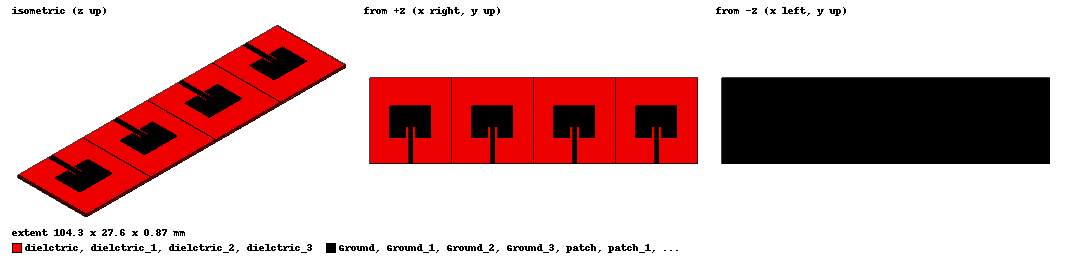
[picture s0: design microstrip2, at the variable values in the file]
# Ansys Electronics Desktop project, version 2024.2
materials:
  vacuum: permittivity=1
  copper: permeability=0.999991 conductivity=58000000
  FR4_epoxy: permittivity=4.4 dielectric_loss_tangent=0.02

design microstrip2 (HFSS, HFSS Modal Network, model units mm)
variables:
  T_diel = 0.8mm
  L = 9.99mm
  W = 13.04mm
  T = 0.035mm
  L_feed = 11.74mm
  W_feed = 1.53mm
  W_g = 2*W
  L_g = 1.5*L_feed+L
  T_g = T
  partial = 0.35
  L_offset = partial*L/2
  W_slot = 2*W_feed
  L_slot = L/2-L_offset
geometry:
  Ground [copper] = box(corner=(-W_g/2, 0mm, 0mm), size=(W_g, L_g, T_g))
  coordinate_system diel_bottom = origin=(0mm, 0mm, T_g) x=(1mm, 0mm, 0mm) y=(0mm, 1mm, 0mm)
  dielctric [FR4_epoxy] = box(corner=(-W_g/2, 0mm, 0mm), size=(W_g, L_g, T_diel)) in diel_bottom
  coordinate_system diel_top = origin=(0mm, 0mm, T_diel) x=(1mm, 0mm, 0mm) y=(0mm, 1mm, 0mm) in diel_bottom
  feed [copper] = box(corner=(-W_feed/2, 0mm, 0mm), size=(W_feed, L_feed, T)) in diel_top
  coordinate_system feed_point = origin=(0mm, L_feed, 0mm) x=(1mm, 0mm, 0mm) y=(0mm, 1mm, 0mm) in diel_top
  coordinate_system antenna_start = origin=(0, -L_slot, 0) x=(1mm, 0mm, 0mm) y=(0mm, 1mm, 0mm) in feed_point
  Box1 = box(corner=(-W_slot/2, 0mm, 0mm), size=(W_slot, L_slot, T)) in antenna_start
  patch [copper] = box(corner=(-W /2, 0, 0mm), size=(W, L, T)) in antenna_start
  patch.subtract(Box1)
  Rectangle1 = rectangle(corner=(-W_feed/2, 0mm, 0mm), z_size=T_g+T+T_diel, x_size=W_feed)
  dielctric_1, dielctric_2, dielctric_3 [FR4_epoxy] = dielctric.duplicate_along_line(step=(-W_g, 0mm, 0mm), total=4) in antenna_start
  Ground_1, Ground_2, Ground_3 [copper] = Ground.duplicate_along_line(step=(-W_g, 0mm, 0mm), total=4) in antenna_start
  feed_1, feed_2, feed_3 [copper] = feed.duplicate_along_line(step=(-W_g, 0mm, 0mm), total=4) in antenna_start
  patch_1, patch_2, patch_3 [copper] = patch.duplicate_along_line(step=(-W_g, 0mm, 0mm), total=4) in antenna_start
  Rectangle1_1, Rectangle1_2, Rectangle1_3 = Rectangle1.duplicate_along_line(step=(-W_g, 0mm, 0mm), total=4) in antenna_start
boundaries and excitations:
  1: Lumped Port Objects=Rectangle1 LumpedPortType=Modal Modes{Mode1{IntLine{(0, 0, 0) -> (0, 0, 0.87)} CharImp=Zpi RenormImp=50ohm}} Impedance=50ohm
  2: Lumped Port Objects=Rectangle1_1 LumpedPortType=Modal Modes{Mode1{IntLine{(-26.08, 0, 0) -> (-26.08, 0, 0.87)} CharImp=Zpi RenormImp=50ohm}} Impedance=50ohm
  3: Lumped Port Objects=Rectangle1_2 LumpedPortType=Modal Modes{Mode1{IntLine{(-52.16, 0, 0) -> (-52.16, 0, 0.87)} CharImp=Zpi RenormImp=50ohm}} Impedance=50ohm
  4: Lumped Port Objects=Rectangle1_3 LumpedPortType=Modal Modes{Mode1{IntLine{(-78.24, 0, 0) -> (-78.24, 0, 0.87)} CharImp=Zpi RenormImp=50ohm}} Impedance=50ohm
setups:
  Setup1: HfssDriven MultipleAdaptiveFreqsSetup{Low=4GHz High=8GHz} MaxDeltaS=0.02 MaximumPasses=12 MinimumPasses=1 MinimumConvergedPasses=1 PercentRefinement=30 BasisOrder=1 PortAccuracy=2 DrivenSolverType="Direct Solver"
    sweep Sweep: 4GHz to 8GHz, 401 points; Type=Interpolating InterpTolerance=0.5 InterpMaxSolns=250 InterpUsePortImped=false PassivityErrorTolerance=0.0001
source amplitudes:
  1:1, 2:1, 3:1, 4:1: 1V 0deg
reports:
  S Parameter Plot 1: dB(S(1,1)), dB(S(1,2)), dB(S(1,3)), dB(S(1,4)) vs Freq on Setup1 : Sweep
